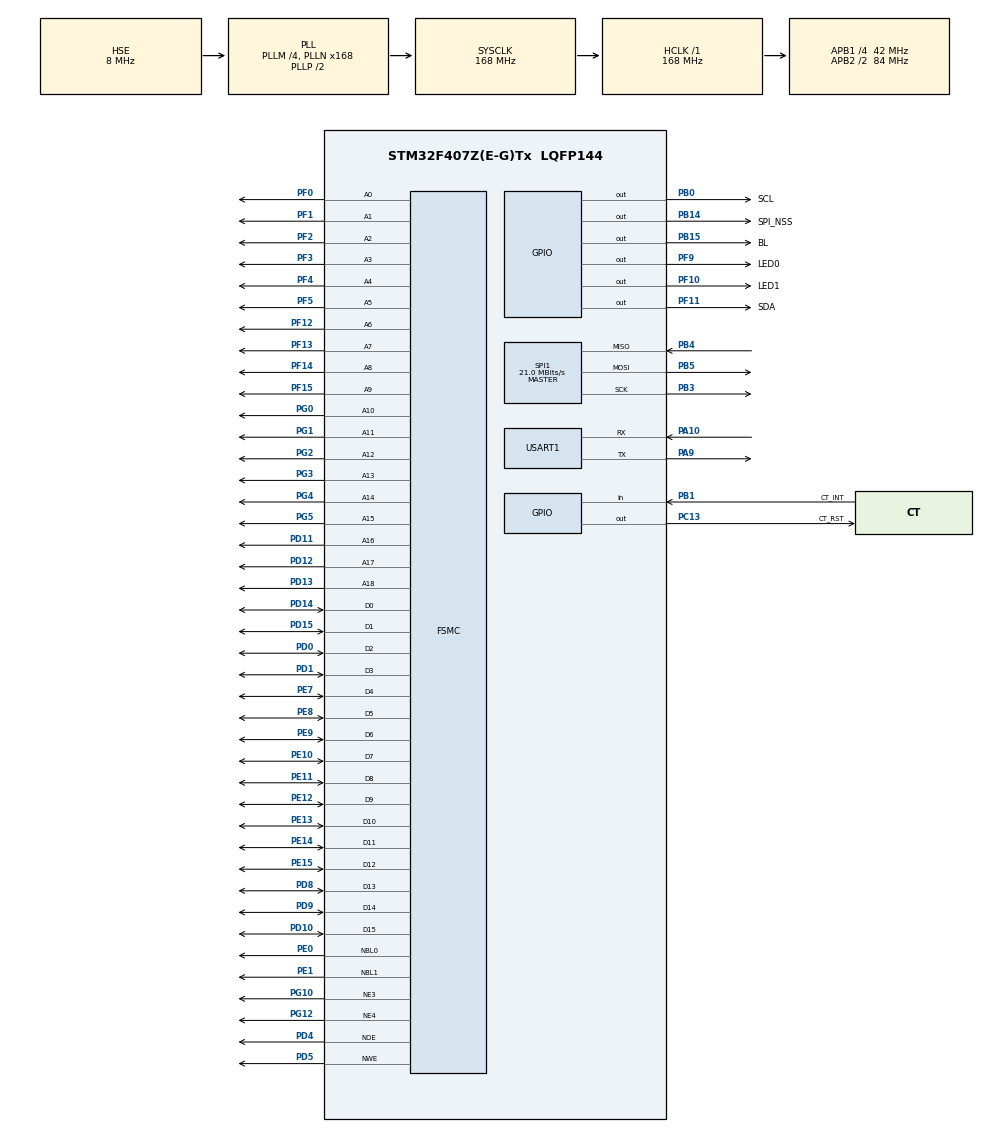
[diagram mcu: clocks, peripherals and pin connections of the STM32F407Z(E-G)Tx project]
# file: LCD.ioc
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FATFS._CODE_PAGE=936
FATFS._FS_EXFAT=1
FATFS._MAX_SS=4096
FATFS._MIN_SS=4096
FATFS._USE_LABEL=1
FATFS._USE_LFN=2
FSMC.AddressSetupTime2=0
FSMC.BusTurnAroundDuration1=0
FSMC.BusTurnAroundDuration2=0
FSMC.DataSetupTime1=60
FSMC.DataSetupTime2=8
FSMC.ExtendedAddressSetupTime1=9
FSMC.ExtendedBusTurnAroundDuration1=0
FSMC.ExtendedDataSetupTime1=8
FSMC.ExtendedMode1=FSMC_EXTENDED_MODE_ENABLE
FSMC.WriteOperation2=FSMC_WRITE_OPERATION_ENABLE
Mcu.Family=STM32F4
Mcu.Name=STM32F407Z(E-G)Tx
Mcu.Package=LQFP144
NVIC.PriorityGroup=NVIC_PRIORITYGROUP_4
NVIC.TIM6_DAC_IRQn=true\:0\:0\:false\:false\:true\:true\:true\:true
NVIC.USART1_IRQn=true\:0\:0\:false\:false\:true\:true\:true\:true
PA10.Mode=Asynchronous
PA10.Signal=USART1_RX
PA13.Mode=Serial_Wire
PA13.Signal=SYS_JTMS-SWDIO
PA14.Mode=Serial_Wire
PA14.Signal=SYS_JTCK-SWCLK
PA9.Mode=Asynchronous
PA9.Signal=USART1_TX
PB0.GPIO_Label=SCL
PB0.GPIO_PuPd=GPIO_PULLUP
PB0.GPIO_Speed=GPIO_SPEED_FREQ_HIGH
PB0.Signal=GPIO_Output
PB1.GPIO_Label=CT_INT
PB1.GPIO_PuPd=GPIO_PULLUP
PB1.Signal=GPIO_Input
PB14.GPIO_Label=SPI_NSS
PB14.GPIO_PuPd=GPIO_PULLUP
PB14.GPIO_Speed=GPIO_SPEED_FREQ_HIGH
PB14.PinState=GPIO_PIN_SET
PB14.Signal=GPIO_Output
PB15.GPIO_Label=BL
PB15.GPIO_PuPd=GPIO_NOPULL
PB15.GPIO_Speed=GPIO_SPEED_FREQ_LOW
PB15.Signal=GPIO_Output
PB3.Mode=Full_Duplex_Master
PB3.Signal=SPI1_SCK
PB4.Mode=Full_Duplex_Master
PB4.Signal=SPI1_MISO
PB5.Mode=Full_Duplex_Master
PB5.Signal=SPI1_MOSI
PC13-ANTI_TAMP.GPIO_Label=CT_RST
PC13-ANTI_TAMP.Signal=GPIO_Output
PD0.Signal=FSMC_D2_DA2
PD1.Signal=FSMC_D3_DA3
PD10.Signal=FSMC_D15_DA15
PD11.Signal=FSMC_A16_CLE
PD12.Signal=FSMC_A17_ALE
PD13.Signal=FSMC_A18
PD14.Signal=FSMC_D0_DA0
PD15.Signal=FSMC_D1_DA1
PD4.Signal=FSMC_NOE
PD5.Signal=FSMC_NWE
PD8.Signal=FSMC_D13_DA13
PD9.Signal=FSMC_D14_DA14
PE0.Signal=FSMC_NBL0
PE1.Signal=FSMC_NBL1
PE10.Signal=FSMC_D7_DA7
PE11.Signal=FSMC_D8_DA8
PE12.Signal=FSMC_D9_DA9
PE13.Signal=FSMC_D10_DA10
PE14.Signal=FSMC_D11_DA11
PE15.Signal=FSMC_D12_DA12
PE7.Signal=FSMC_D4_DA4
PE8.Signal=FSMC_D5_DA5
PE9.Signal=FSMC_D6_DA6
PF0.Signal=FSMC_A0
PF1.Signal=FSMC_A1
PF10.GPIO_Label=LED1
PF10.GPIO_PuPd=GPIO_PULLUP
PF10.PinState=GPIO_PIN_SET
PF10.Signal=GPIO_Output
PF11.GPIO_Label=SDA
PF11.GPIO_PuPd=GPIO_PULLUP
PF11.GPIO_Speed=GPIO_SPEED_FREQ_HIGH
PF11.Signal=GPIO_Output
PF12.Signal=FSMC_A6
PF13.Signal=FSMC_A7
PF14.Signal=FSMC_A8
PF15.Signal=FSMC_A9
PF2.Signal=FSMC_A2
PF3.Signal=FSMC_A3
PF4.Signal=FSMC_A4
PF5.Signal=FSMC_A5
PF9.GPIO_Label=LED0
PF9.GPIO_PuPd=GPIO_PULLUP
PF9.PinState=GPIO_PIN_SET
PF9.Signal=GPIO_Output
PG0.Signal=FSMC_A10
PG1.Signal=FSMC_A11
PG10.Mode=NorPsramChipSelect3_2
PG10.Signal=FSMC_NE3
PG12.Mode=NorPsramChipSelect4_1
PG12.Signal=FSMC_NE4
PG2.Signal=FSMC_A12
PG3.Signal=FSMC_A13
PG4.Signal=FSMC_A14
PG5.Signal=FSMC_A15
PH0-OSC_IN.Mode=HSE-External-Oscillator
PH0-OSC_IN.Signal=RCC_OSC_IN
PH1-OSC_OUT.Mode=HSE-External-Oscillator
PH1-OSC_OUT.Signal=RCC_OSC_OUT
ProjectManager.HeapSize=0x200
ProjectManager.StackSize=0x1000
ProjectManager.TargetToolchain=Makefile
RCC.48MHZClocksFreq_Value=84000000
RCC.AHBFreq_Value=168000000
RCC.APB1CLKDivider=RCC_HCLK_DIV4
RCC.APB1Freq_Value=42000000
RCC.APB1TimFreq_Value=84000000
RCC.APB2CLKDivider=RCC_HCLK_DIV2
RCC.APB2Freq_Value=84000000
RCC.APB2TimFreq_Value=168000000
RCC.CortexFreq_Value=168000000
RCC.HCLKFreq_Value=168000000
RCC.HSE_VALUE=8000000
RCC.HSI_VALUE=16000000
RCC.LSE_VALUE=32768
RCC.PLLM=4
RCC.PLLN=168
RCC.PLLSourceVirtual=RCC_PLLSOURCE_HSE
RCC.SYSCLKFreq_VALUE=168000000
RCC.SYSCLKSource=RCC_SYSCLKSOURCE_PLLCLK
RCC.VCOOutputFreq_Value=336000000
SH.FSMC_A0.0=FSMC_A0,19b-a2
SH.FSMC_A1.0=FSMC_A1,19b-a2
SH.FSMC_A10.0=FSMC_A10,19b-a2
SH.FSMC_A11.0=FSMC_A11,19b-a2
SH.FSMC_A12.0=FSMC_A12,19b-a2
SH.FSMC_A13.0=FSMC_A13,19b-a2
SH.FSMC_A14.0=FSMC_A14,19b-a2
SH.FSMC_A15.0=FSMC_A15,19b-a2
SH.FSMC_A16_CLE.0=FSMC_A16,19b-a2
SH.FSMC_A17_ALE.0=FSMC_A17,19b-a2
SH.FSMC_A18.0=FSMC_A18,19b-a2
SH.FSMC_A2.0=FSMC_A2,19b-a2
SH.FSMC_A3.0=FSMC_A3,19b-a2
SH.FSMC_A4.0=FSMC_A4,19b-a2
SH.FSMC_A5.0=FSMC_A5,19b-a2
SH.FSMC_A6.0=FSMC_A6,A6_1
SH.FSMC_A6.1=FSMC_A6,19b-a2
SH.FSMC_A7.0=FSMC_A7,19b-a2
SH.FSMC_A8.0=FSMC_A8,19b-a2
SH.FSMC_A9.0=FSMC_A9,19b-a2
SH.FSMC_D0_DA0.0=FSMC_D0,16b-d1
SH.FSMC_D0_DA0.1=FSMC_D0,16b-d2
SH.FSMC_D10_DA10.0=FSMC_D10,16b-d1
SH.FSMC_D10_DA10.1=FSMC_D10,16b-d2
SH.FSMC_D11_DA11.0=FSMC_D11,16b-d1
SH.FSMC_D11_DA11.1=FSMC_D11,16b-d2
SH.FSMC_D12_DA12.0=FSMC_D12,16b-d1
SH.FSMC_D12_DA12.1=FSMC_D12,16b-d2
SH.FSMC_D13_DA13.0=FSMC_D13,16b-d1
SH.FSMC_D13_DA13.1=FSMC_D13,16b-d2
SH.FSMC_D14_DA14.0=FSMC_D14,16b-d1
SH.FSMC_D14_DA14.1=FSMC_D14,16b-d2
SH.FSMC_D15_DA15.0=FSMC_D15,16b-d1
SH.FSMC_D15_DA15.1=FSMC_D15,16b-d2
SH.FSMC_D1_DA1.0=FSMC_D1,16b-d1
SH.FSMC_D1_DA1.1=FSMC_D1,16b-d2
SH.FSMC_D2_DA2.0=FSMC_D2,16b-d1
SH.FSMC_D2_DA2.1=FSMC_D2,16b-d2
SH.FSMC_D3_DA3.0=FSMC_D3,16b-d1
SH.FSMC_D3_DA3.1=FSMC_D3,16b-d2
SH.FSMC_D4_DA4.0=FSMC_D4,16b-d1
SH.FSMC_D4_DA4.1=FSMC_D4,16b-d2
SH.FSMC_D5_DA5.0=FSMC_D5,16b-d1
SH.FSMC_D5_DA5.1=FSMC_D5,16b-d2
SH.FSMC_D6_DA6.0=FSMC_D6,16b-d1
SH.FSMC_D6_DA6.1=FSMC_D6,16b-d2
SH.FSMC_D7_DA7.0=FSMC_D7,16b-d1
SH.FSMC_D7_DA7.1=FSMC_D7,16b-d2
SH.FSMC_D8_DA8.0=FSMC_D8,16b-d1
SH.FSMC_D8_DA8.1=FSMC_D8,16b-d2
SH.FSMC_D9_DA9.0=FSMC_D9,16b-d1
SH.FSMC_D9_DA9.1=FSMC_D9,16b-d2
SH.FSMC_NBL0.0=FSMC_NBL0,2ByteEnable2
SH.FSMC_NBL1.0=FSMC_NBL1,2ByteEnable2
SH.FSMC_NOE.0=FSMC_NOE,Lcd1
SH.FSMC_NOE.1=FSMC_NOE,Sram2
SH.FSMC_NWE.0=FSMC_NWE,Lcd1
SH.FSMC_NWE.1=FSMC_NWE,Sram2
SPI1.BaudRatePrescaler=SPI_BAUDRATEPRESCALER_4
SPI1.CLKPhase=SPI_PHASE_2EDGE
SPI1.CLKPolarity=SPI_POLARITY_HIGH
SPI1.CalculateBaudRate=21.0 MBits/s
SPI1.Direction=SPI_DIRECTION_2LINES
SPI1.Mode=SPI_MODE_MASTER
SPI1.VirtualType=VM_MASTER
TIM3.Period=999
TIM3.Prescaler=83
TIM6.AutoReloadPreload=TIM_AUTORELOAD_PRELOAD_ENABLE
TIM6.Period=999
TIM6.Prescaler=83
USART1.VirtualMode=VM_ASYNC
VP_FATFS_VS_Generic.Mode=User_defined
VP_TIM3_VS_ClockSourceINT.Mode=Internal
VP_TIM6_VS_ClockSourceINT.Mode=Enable_Timer
board=custom

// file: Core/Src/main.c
/* USER CODE BEGIN Header */
/**
 ******************************************************************************
 * @file           : main.c
 * @brief          : Main program body
 ******************************************************************************
 * @attention
 *
 * <h2><center>&copy; Copyright (c) 2021 STMicroelectronics.
 * All rights reserved.</center></h2>
 *
 * This software component is licensed by ST under BSD 3-Clause license,
 * the "License"; You may not use this file except in compliance with the
 * License. You may obtain a copy of the License at:
 *                        opensource.org/licenses/BSD-3-Clause
 *
 ******************************************************************************
 */
/* USER CODE END Header */
#include "main.h"
#include "fatfs.h"
#include "spi.h"
#include "tim.h"
#include "usart.h"
#include "gpio.h"
#include "fsmc.h"

/* USER CODE BEGIN Includes */
#include "lcd.h"
#include "touch.h"
#include "stdio.h"
#include "lvgl/lvgl.h"
#include "lvgl_port/lv_port_disp.h"
#include "lvgl_port/lv_port_indev.h"
//#include "demos/lv_demos.h"
#include "sram.h"
#include "w25qxx.h"
//#include "generated/events_init.h"
//#include "generated/gui_guider.h"
/* USER CODE END Includes */

void SystemClock_Config(void);

/* USER CODE BEGIN 0 */

static void event_handler(lv_event_t *event)
{
  lv_obj_t *obj = lv_event_get_target(event);
  switch (lv_event_get_code(event))
  {
  case LV_EVENT_PRESSED:
    break;
  case LV_EVENT_RELEASED:

    break;
  case LV_EVENT_VALUE_CHANGED:
    if (strcmp((char *)lv_event_get_user_data(event), "sw1") == 0)
    {
      if (lv_obj_has_state(obj, LV_STATE_CHECKED))
        HAL_GPIO_WritePin(LED0_GPIO_Port, LED0_Pin, 0);
      else
        HAL_GPIO_WritePin(LED0_GPIO_Port, LED0_Pin, 1);
    }
    else if (strcmp((char *)lv_event_get_user_data(event), "sw2") == 0)
    {
      if (lv_obj_has_state(obj, LV_STATE_CHECKED))
        HAL_GPIO_WritePin(LED1_GPIO_Port, LED1_Pin, 0);
      else
        HAL_GPIO_WritePin(LED1_GPIO_Port, LED1_Pin, 1);
    }

    break;

  default:
    break;
  }
}

/* void vUint16ConvertString(u16 *usWdata, u8 *Rstr, u16 usNBytes)
{
  u8 i, j;
  i = j = 0;
  while (i < usNBytes)
  {
    if ((i % 2) == 0)
      Rstr[i++] = (u8)(usWdata[j] & 0xff);
    else
      Rstr[i++] = (u8)(usWdata[j++] >> 8);
  }
} */

static void lvgl_first_demo_start(void)
{
  /* LV_IMG_DECLARE(debian_s);
  static lv_style_t style;
  lv_style_init(&style);
  lv_style_set_bg_img_src(&style, &debian_s);
  lv_obj_t *sy = lv_obj_create(lv_scr_act());
  lv_obj_add_style(sy, &style, 0);
  lv_obj_set_size(sy, 480, 800);
  lv_obj_center(sy); */

  lv_obj_t *btn = lv_btn_create(lv_scr_act());
  lv_obj_set_pos(btn, 20, 10);
  lv_obj_set_size(btn, 140, 50);
  lv_obj_t *btn1 = lv_btn_create(lv_scr_act());
  lv_obj_set_pos(btn1, 20, 10);
  lv_obj_set_size(btn1, 140, 50);
  lv_obj_add_flag(btn1, LV_OBJ_FLAG_CHECKABLE);

  lv_obj_t *label = lv_label_create(btn);
  lv_label_set_text(label, "button");
  lv_obj_align_to(label, btn, LV_ALIGN_CENTER, 0, 0);

  lv_obj_t *coord_x = lv_label_create(lv_scr_act());
  lv_obj_set_size(coord_x, 120, 20);

  lv_obj_t *coord_y = lv_label_create(lv_scr_act());
  lv_obj_set_size(coord_y, 120, 20);

  lv_obj_t *sw1 = lv_switch_create(lv_scr_act());
  lv_obj_add_event_cb(sw1, event_handler, LV_EVENT_ALL, "sw1");
  lv_obj_t *sw2 = lv_switch_create(lv_scr_act());
  lv_obj_add_event_cb(sw2, event_handler, LV_EVENT_ALL, "sw2");

  lv_obj_t *label1 = lv_label_create(lv_scr_act());
  lv_label_set_text(label1, "Hello,world!");
  lv_obj_align(label1, LV_ALIGN_CENTER, 0, 0);
  lv_obj_align_to(btn, label1, LV_ALIGN_OUT_TOP_MID, 85, -20);
  lv_obj_align_to(btn1, btn, LV_ALIGN_OUT_LEFT_MID, -30, 0);
  lv_obj_align_to(coord_x, label1, LV_ALIGN_OUT_BOTTOM_MID, 0, 30);
  lv_obj_align_to(coord_y, coord_x, LV_ALIGN_OUT_BOTTOM_MID, 0, 30);
  lv_obj_align_to(sw1, coord_y, LV_ALIGN_OUT_BOTTOM_LEFT, -45, 30);
  lv_obj_align_to(sw2, sw1, LV_ALIGN_OUT_RIGHT_MID, 40, 0);

  // vUint16ConvertString(&(tp_dev.x), x, 2);
  // vUint16ConvertString(&(tp_dev.y), y, 2);

  lv_label_set_text_fmt(coord_x, "X: %d", tp_dev.x[0]);
  lv_label_set_text_fmt(coord_y, "Y: %d", tp_dev.y[0]);
}
// lv_ui guider_ui;
FATFS spi_fs;
FIL fil;

/* USER CODE END 0 */

int main(void)
{
  /* USER CODE BEGIN 1 */
  u32 total, free;
  u8 res = 0;
  /* USER CODE END 1 */

  /* MCU Configuration--------------------------------------------------------*/

  /* Reset of all peripherals, Initializes the Flash interface and the Systick. */
  HAL_Init();

  /* Configure the system clock */
  SystemClock_Config();

  /* Initialize all configured peripherals */
  MX_GPIO_Init();
  MX_FSMC_Init();
  MX_TIM3_Init();
  MX_USART1_UART_Init();
  MX_TIM6_Init();
  MX_SPI1_Init();
  MX_FATFS_Init();
  /* USER CODE BEGIN 2 */

  lv_init();
  lv_port_disp_init();
  lv_port_indev_init();
  SRAM_Init();
  W25QXX_Init();

  /* res = f_mount(fs[1], "S:", 1);
  if (res == 0X0D) // FLASH磁盘,FAT文件系统错误,重新格式化FLASH
  {
    // LCD_ShowString(30, 150, 200, 16, 16, "Flash Disk Formatting..."); //格式化FLASH
    res = f_mkfs("S:", 1, 4096); //格式化FLASH,1,盘符;1,不需要引导区,8个扇区为1个簇
    if (res == 0)
    {
      f_setlabel((const TCHAR *)"1:ALIENTEK"); //设置Flash磁盘的名字为：ALIENTEK
      // LCD_ShowString(30, 150, 200, 16, 16, "Flash Disk Format Finish"); //格式化完成
    }
    else
      // LCD_ShowString(30, 150, 200, 16, 16, "Flash Disk Format Error "); //格式化失败
      HAL_Delay(1000);
  } */
  HAL_TIM_Base_Start_IT(&htim6);
  // lv_demo_music();
  //  lv_demo_stress();
  // lv_demo_benchmark();
  // lv_demo_widgets();
  lvgl_first_demo_start();
  // setup_ui(&guider_ui);
  // events_init(&guider_ui);

  /* USER CODE END 2 */

  /* Infinite loop */
  while (1)
  {

    /* USER CODE BEGIN 3 */
    lv_task_handler();
    /* POINT_COLOR = WHITE;
    BACK_COLOR = RED;
    LCD_ShowString(10, 40, 240, 40, 24, "LCD_Test, 1234567890"); */
    // HAL_Delay(2000);
    //  HAL_GPIO_TogglePin(BL_GPIO_Port, BL_Pin);
  }
  /* USER CODE END 3 */
}

void SystemClock_Config(void)
{
  RCC_OscInitTypeDef RCC_OscInitStruct = {0};
  RCC_ClkInitTypeDef RCC_ClkInitStruct = {0};

  /** Configure the main internal regulator output voltage
   */
  __HAL_RCC_PWR_CLK_ENABLE();
  __HAL_PWR_VOLTAGESCALING_CONFIG(PWR_REGULATOR_VOLTAGE_SCALE1);

  /** Initializes the RCC Oscillators according to the specified parameters
   * in the RCC_OscInitTypeDef structure.
   */
  RCC_OscInitStruct.OscillatorType = RCC_OSCILLATORTYPE_HSE;
  RCC_OscInitStruct.HSEState = RCC_HSE_ON;
  RCC_OscInitStruct.PLL.PLLState = RCC_PLL_ON;
  RCC_OscInitStruct.PLL.PLLSource = RCC_PLLSOURCE_HSE;
  RCC_OscInitStruct.PLL.PLLM = 4;
  RCC_OscInitStruct.PLL.PLLN = 168;
  RCC_OscInitStruct.PLL.PLLP = RCC_PLLP_DIV2;
  RCC_OscInitStruct.PLL.PLLQ = 4;
  if (HAL_RCC_OscConfig(&RCC_OscInitStruct) != HAL_OK)
  {
    Error_Handler();
  }

  /** Initializes the CPU, AHB and APB buses clocks
   */
  RCC_ClkInitStruct.ClockType = RCC_CLOCKTYPE_HCLK | RCC_CLOCKTYPE_SYSCLK | RCC_CLOCKTYPE_PCLK1 | RCC_CLOCKTYPE_PCLK2;
  RCC_ClkInitStruct.SYSCLKSource = RCC_SYSCLKSOURCE_PLLCLK;
  RCC_ClkInitStruct.AHBCLKDivider = RCC_SYSCLK_DIV1;
  RCC_ClkInitStruct.APB1CLKDivider = RCC_HCLK_DIV4;
  RCC_ClkInitStruct.APB2CLKDivider = RCC_HCLK_DIV2;

  if (HAL_RCC_ClockConfig(&RCC_ClkInitStruct, FLASH_LATENCY_5) != HAL_OK)
  {
    Error_Handler();
  }
}

void Error_Handler(void)
{
  __disable_irq();
  while (1)
  {
  }
}
